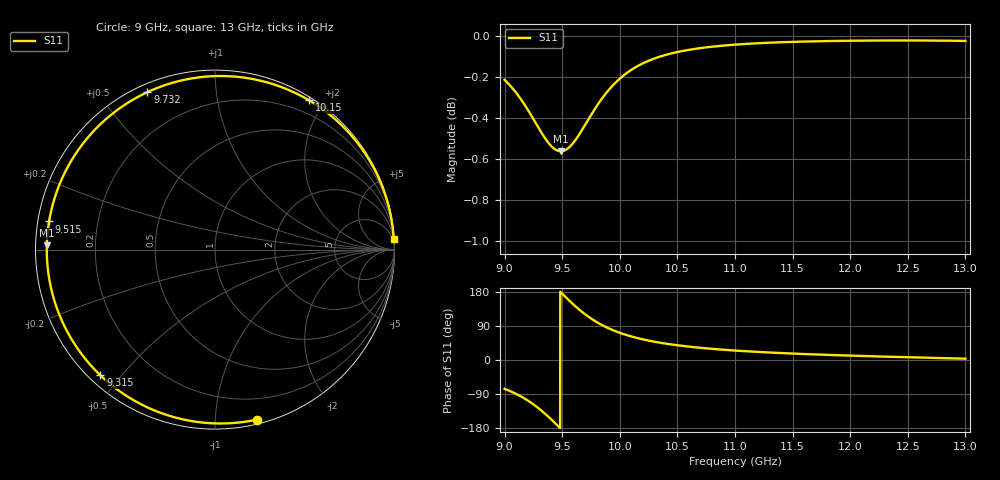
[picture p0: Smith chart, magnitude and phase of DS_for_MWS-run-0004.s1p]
! TOUCHSTONE file generated by CST DESIGN STUDIO
! Date and time: Tue Feb  4 14:13:22 2025
! Project name: C:\Work\MatlabApps\UnitCellOptimizationMatlab\CST\unitcell.cst
! Tree item: Tasks\Sweep1\SPara1\S-Parameters
! Header version: 2024
! Port assignment regex: !\s*Touchstone port\s*([0-9]+)\s*=\s*(CST MWS port|CST DES external port|CST DES block port)\s*(.+)\s* \(\"(.*)\"\)(\s*mode\s*([0-9]+))?.*
! Touchstone port assignment:
! Touchstone port 1 = CST DES external port 1 ("")
# GHz S MA R 50
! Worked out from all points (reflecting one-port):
!   4001 points, 9 GHz to 13 GHz, reference 50 ohm
!   lowest |S11| = -0.6 dB at 9.488 GHz (marker M1), VSWR 30.95, Z = 1.62 + j0.659 ohm
!   phase of S11 starts at -76 deg and turns -280 deg over the sweep
!   S11 on the Smith chart (normalised r, x): 9 GHz: 0.03, -1.28; 9.315 GHz: 0.03, -0.44; 9.515 GHz: 0.03, +0.08; 9.732 GHz: 0.03, +0.66; 10.15 GHz: 0.04, +1.81; 13 GHz: 2, +33
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9  0.9756 -76.1
9.081  0.9701 -86.6
9.18  0.9615 -102.8
9.25  0.9544 -117.0
9.315  0.9477 -132.3
9.361  0.9434 -144.4
9.409  0.9399 -158.0
9.449  0.938 -169.8
9.488  0.9374 178.5
9.5  0.9375 174.9
9.515  0.9377 170.4
9.567  0.9398 155.0
9.627  0.9444 138.4
9.679  0.9493 125.3
9.732  0.9547 113.3
9.786  0.9601 102.5
9.846  0.9655 92.1
9.922  0.9714 81.0
10  0.9763 71.7
10.154  0.9832 57.8
10.311  0.9876 47.7
10.5  0.9909 38.9
10.722  0.9933 31.5
11  0.995 24.9
11.5  0.9966 17.0
12  0.9972 11.5
12.5  0.9974 7.3
13  0.9971 3.5
